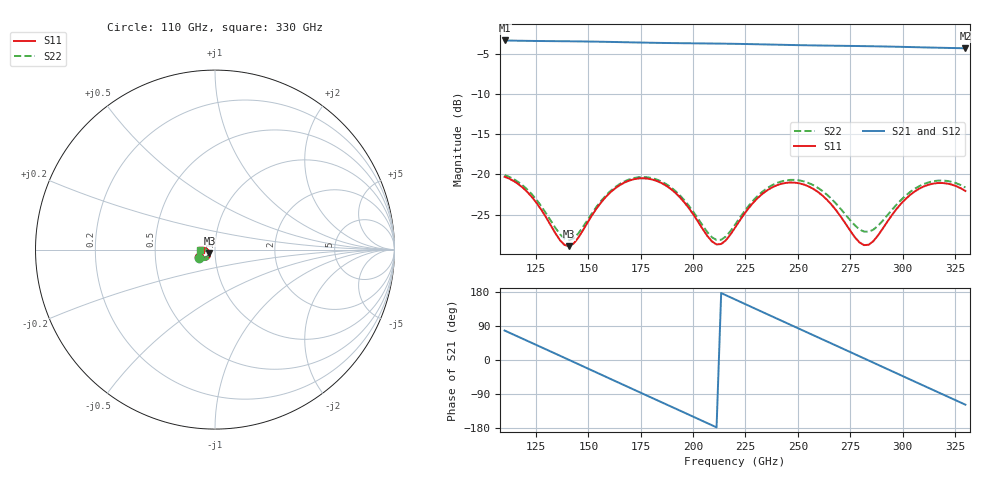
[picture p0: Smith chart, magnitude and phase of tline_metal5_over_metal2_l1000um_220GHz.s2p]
#  GHZ S DB R 50
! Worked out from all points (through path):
!   101 points, 110 GHz to 330 GHz, reference 50 ohm
!   highest |S21| = -3.34 dB at 110 GHz (marker M1); lowest = -4.3 dB at 330 GHz (marker M2)
!   group delay of S21, straight-line fit = 7.02 ps
!   lowest |S11| = -28.9 dB at 140.8 GHz (marker M3), VSWR 1.07, Z = 47 - j1.7 ohm
!   |S11| at or under -10 dB: start of sweep to end of sweep
!   |S22| runs from -28.2 to -20.1 dB; largest |S21 - S12| = 7.4e-14
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110  -20.29 -153.7  -3.34 77.8  -3.34 77.8  -20.09 -152.3
118.8  -21.68 -168.2  -3.38 55.7  -3.38 55.7  -21.40 -166.4
127.6  -24.42 -176.6  -3.41 33.5  -3.41 33.5  -23.99 -174.4
140.8  -28.92 -149.7  -3.44 0.2  -3.44 0.2  -28.18 -150.4
147.4  -26.95 -129.6  -3.46 -16.6  -3.46 -16.6  -26.54 -131.5
156.2  -23.44 -128.0  -3.50 -38.9  -3.50 -38.9  -23.25 -128.8
167.2  -21.01 -141.9  -3.56 -66.7  -3.56 -66.7  -20.87 -141.6
176  -20.48 -156.4  -3.60 -89.0  -3.60 -89.0  -20.32 -155.5
184.8  -21.06 -170.6  -3.64 -111.1  -3.64 -111.1  -20.87 -169.1
198  -24.20 175.1  -3.69 -144.4  -3.69 -144.4  -23.91 177.3
211.2  -28.70 -163.7  -3.72 -177.8  -3.72 -177.8  -28.16 -162.2
220  -26.63 -138.8  -3.76 159.9  -3.76 159.9  -26.26 -138.2
231  -22.89 -139.9  -3.81 132.0  -3.81 132.0  -22.63 -138.4
239.8  -21.36 -151.1  -3.86 109.8  -3.86 109.8  -21.08 -148.8
248.6  -21.02 -164.4  -3.91 87.6  -3.91 87.6  -20.68 -161.3
257.4  -21.80 -177.3  -3.95 65.4  -3.95 65.4  -21.34 -173.3
270.6  -25.28 172.6  -4.00 32.1  -4.00 32.1  -24.32 177.8
281.6  -28.79 -165.8  -4.04 4.3  -4.04 4.3  -27.11 -165.6
294.8  -25.10 -138.2  -4.11 -29.1  -4.11 -29.1  -24.44 -142.2
312.4  -21.28 -154.7  -4.21 -73.6  -4.21 -73.6  -20.98 -155.5
321.2  -21.13 -167.5  -4.26 -95.8  -4.26 -95.8  -20.81 -167.0
330  -22.06 -179.2  -4.31 -117.9  -4.31 -117.9  -21.62 -177.5
